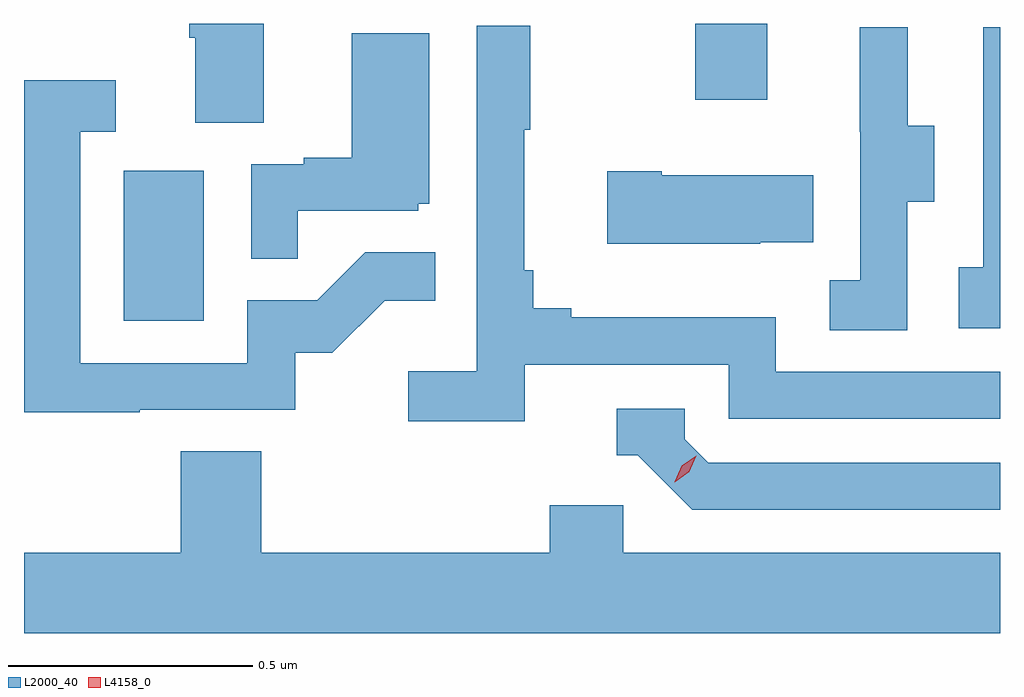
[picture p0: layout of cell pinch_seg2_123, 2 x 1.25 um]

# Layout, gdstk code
import gdstk
lib = gdstk.Library(unit=1e-6, precision=1e-09)
def R(c, l, rs):  # rectangles x0, y0, x1, y1
    for r in rs: c.add(gdstk.rectangle(r[:2], r[2:], *l))
def P(c, l, *ps):  # polygons
    for p in ps: c.add(gdstk.Polygon(p, *l))
L2000_40 = (2000, 40)
L4158_0 = (4158, 0)

pinch_seg2_123 = lib.new_cell('pinch_seg2_123')
R(pinch_seg2_123, L2000_40, [(1053.098,634.956,1053.262,635.263), (1054.27,635.409,1054.417,635.564)])
P(pinch_seg2_123, L2000_40, [(1053.385,635.564),(1053.233,635.564),(1053.233,635.536),(1053.245,635.536),(1053.245,635.362),(1053.385,635.362)],
  [(1053.92,634.866),(1054.338,634.866),(1054.338,634.755),(1054.894,634.755),(1054.894,634.851),(1054.434,634.851),(1054.434,634.963),(1054.015,634.963),(1054.015,634.982),(1053.938,634.982),(1053.938,635.059),(1053.919,635.059),(1053.919,635.347),(1053.931,635.347),(1053.931,635.56),(1053.822,635.56),(1053.822,634.852),(1053.681,634.852),(1053.681,634.75),(1053.92,634.75)],
  [(1054.894,635.557),(1054.86,635.557),(1054.86,635.066),(1054.809,635.066),(1054.809,634.941),(1054.894,634.941)],
  [(1054.704,635.2),(1054.759,635.2),(1054.759,635.355),(1054.705,635.355),(1054.705,635.557),(1054.607,635.557),(1054.607,635.343),(1054.608,635.343),(1054.608,635.039),(1054.545,635.039),(1054.545,634.936),(1054.704,634.936)],
  [(1053.455,635.181),(1053.702,635.181),(1053.702,635.196),(1053.724,635.196),(1053.724,635.545),(1053.566,635.545),(1053.566,635.29),(1053.467,635.29),(1053.467,635.277),(1053.36,635.277),(1053.36,635.083),(1053.455,635.083)],
  [(1053.131,634.773),(1053.45,634.773),(1053.45,634.89),(1053.526,634.89),(1053.633,634.997),(1053.737,634.997),(1053.737,635.096),(1053.593,635.096),(1053.495,634.998),(1053.351,634.998),(1053.351,634.869),(1053.009,634.869),(1053.009,635.343),(1053.082,635.343),(1053.082,635.449),(1052.894,635.449),(1052.894,634.768),(1053.131,634.768)],
  [(1054.403,635.117),(1054.511,635.117),(1054.511,635.254),(1054.201,635.254),(1054.201,635.262),(1054.089,635.262),(1054.089,635.114),(1054.403,635.114)],
  [(1054.894,634.665),(1054.296,634.665),(1054.248,634.713),(1054.248,634.776),(1054.109,634.776),(1054.109,634.68),(1054.152,634.68),(1054.263,634.569),(1054.894,634.569)],
  [(1054.894,634.48),(1054.122,634.48),(1054.122,634.578),(1053.971,634.578),(1053.971,634.48),(1053.38,634.48),(1053.38,634.688),(1053.215,634.688),(1053.215,634.48),(1052.894,634.48),(1052.894,634.316),(1054.894,634.316)])
P(pinch_seg2_123, L4158_0, [(1054.227,634.625),(1054.227,634.626),(1054.242,634.659),(1054.272,634.679),(1054.272,634.679),(1054.272,634.679),(1054.257,634.646),(1054.227,634.625)])

lib.write_gds('pinch_seg2_123.gds')
